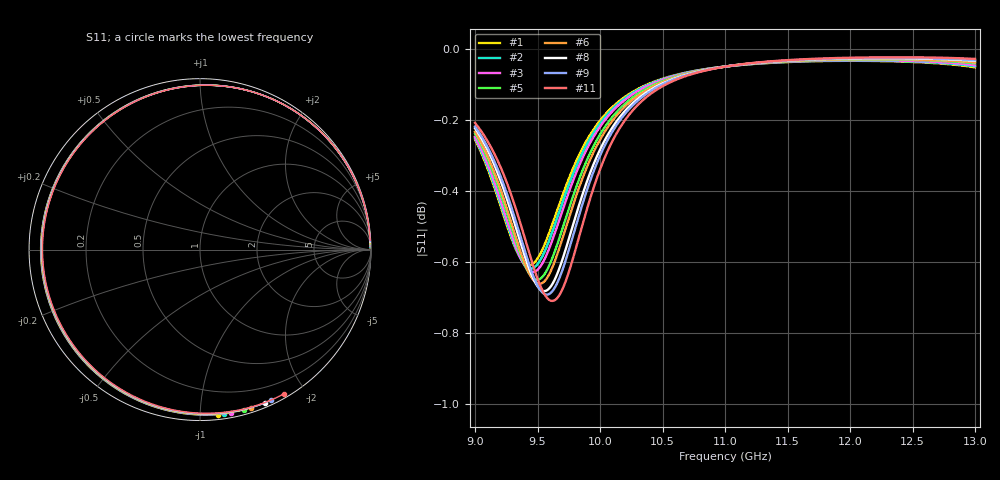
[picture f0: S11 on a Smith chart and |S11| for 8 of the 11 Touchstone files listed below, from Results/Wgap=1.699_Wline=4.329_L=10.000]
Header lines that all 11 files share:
! TOUCHSTONE file generated by CST DESIGN STUDIO
! Project name: C:\Work\MatlabApps\UnitCellOptimizationMatlab\CST\unitcell.cst
! Tree item: Tasks\Sweep1\SPara1\S-Parameters
! Header version: 2024
! Port assignment regex: !\s*Touchstone port\s*([0-9]+)\s*=\s*(CST MWS port|CST DES external port|CST DES block port)\s*(.+)\s* \(\"(.*)\"\)(\s*mode\s*([0-9]+))?.*
! Touchstone port assignment:
! Touchstone port 1 = CST DES external port 1 ("")
# GHz S MA R 50
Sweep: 9 GHz to 13 GHz
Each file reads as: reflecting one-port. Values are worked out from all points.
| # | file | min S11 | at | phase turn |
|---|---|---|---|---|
| 1 | DS_for_MWS-run-0001.s1p | -0.6 dB | 9.433 GHz | -276 deg |
| 2 | DS_for_MWS-run-0002.s1p | -0.6 dB | 9.447 GHz | -278 deg |
| 3 | DS_for_MWS-run-0003.s1p | -0.6 dB | 9.462 GHz | -280 deg |
| 4 | DS_for_MWS-run-0004.s1p | -0.6 dB | 9.479 GHz | -282 deg |
| 5 | DS_for_MWS-run-0005.s1p | -0.7 dB | 9.496 GHz | -284 deg |
| 6 | DS_for_MWS-run-0006.s1p | -0.7 dB | 9.516 GHz | -286 deg |
| 7 | DS_for_MWS-run-0007.s1p | -0.7 dB | 9.534 GHz | -288 deg |
| 8 | DS_for_MWS-run-0008.s1p | -0.7 dB | 9.554 GHz | -290 deg |
| 9 | DS_for_MWS-run-0009.s1p | -0.7 dB | 9.575 GHz | -293 deg |
| 10 | DS_for_MWS-run-0010.s1p | -0.7 dB | 9.596 GHz | -295 deg |
| 11 | DS_for_MWS-run-0011.s1p | -0.7 dB | 9.618 GHz | -297 deg |
